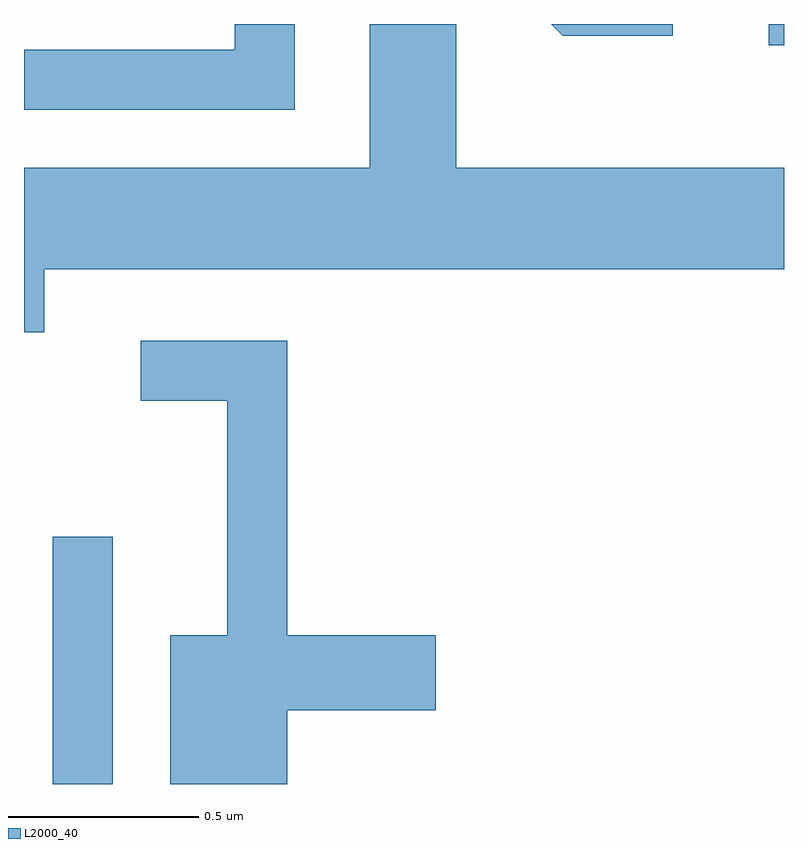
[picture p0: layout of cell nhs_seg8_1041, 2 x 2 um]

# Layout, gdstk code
import gdstk
lib = gdstk.Library(unit=1e-6, precision=1e-09)
def R(c, l, rs):  # rectangles x0, y0, x1, y1
    for r in rs: c.add(gdstk.rectangle(r[:2], r[2:], *l))
def P(c, l, *ps):  # polygons
    for p in ps: c.add(gdstk.Polygon(p, *l))
L2000_40 = (2000, 40)

nhs_seg8_1041 = lib.new_cell('nhs_seg8_1041')
R(nhs_seg8_1041, L2000_40, [(192.686,1888.342,192.844,1888.993), (194.571,1890.286,194.611,1890.342)])
P(nhs_seg8_1041, L2000_40, [(192.664,1889.696),(194.611,1889.696),(194.611,1889.964),(193.749,1889.964),(193.749,1890.342),(193.521,1890.342),(193.521,1889.964),(192.611,1889.964),(192.611,1889.531),(192.664,1889.531)],
  [(194.318,1890.342),(193.998,1890.342),(194.029,1890.311),(194.318,1890.311)],
  [(193.324,1890.342),(193.166,1890.342),(193.166,1890.274),(192.611,1890.274),(192.611,1890.116),(193.324,1890.116)],
  [(193.304,1888.536),(193.694,1888.536),(193.694,1888.734),(193.304,1888.734),(193.304,1889.509),(192.918,1889.509),(192.918,1889.351),(193.146,1889.351),(193.146,1888.734),(192.996,1888.734),(192.996,1888.342),(193.304,1888.342)])

lib.write_gds('nhs_seg8_1041.gds')
